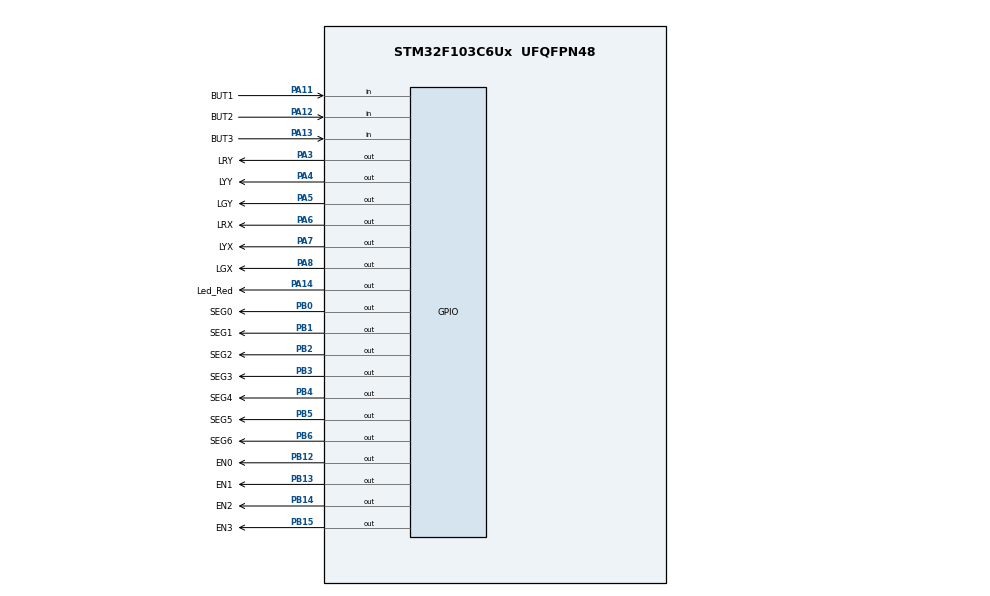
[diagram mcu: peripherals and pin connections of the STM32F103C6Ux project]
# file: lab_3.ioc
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Mcu.Family=STM32F1
Mcu.Name=STM32F103C6Ux
Mcu.Package=UFQFPN48
NVIC.PriorityGroup=NVIC_PRIORITYGROUP_4
NVIC.TIM2_IRQn=true\:0\:0\:false\:false\:true\:true\:true\:true
PA11.GPIO_Label=BUT1
PA11.GPIO_PuPd=GPIO_PULLUP
PA11.Signal=GPIO_Input
PA12.GPIO_Label=BUT2
PA12.GPIO_PuPd=GPIO_PULLUP
PA12.Signal=GPIO_Input
PA13.GPIO_Label=BUT3
PA13.GPIO_PuPd=GPIO_PULLUP
PA13.Signal=GPIO_Input
PA14.GPIO_Label=Led_Red
PA14.Signal=GPIO_Output
PA3.GPIO_Label=LRY
PA3.Signal=GPIO_Output
PA4.GPIO_Label=LYY
PA4.Signal=GPIO_Output
PA5.GPIO_Label=LGY
PA5.Signal=GPIO_Output
PA6.GPIO_Label=LRX
PA6.Signal=GPIO_Output
PA7.GPIO_Label=LYX
PA7.Signal=GPIO_Output
PA8.GPIO_Label=LGX
PA8.Signal=GPIO_Output
PB0.GPIO_Label=SEG0
PB0.Signal=GPIO_Output
PB1.GPIO_Label=SEG1
PB1.Signal=GPIO_Output
PB12.GPIO_Label=EN0
PB12.Signal=GPIO_Output
PB13.GPIO_Label=EN1
PB13.Signal=GPIO_Output
PB14.GPIO_Label=EN2
PB14.Signal=GPIO_Output
PB15.GPIO_Label=EN3
PB15.Signal=GPIO_Output
PB2.GPIO_Label=SEG2
PB2.Signal=GPIO_Output
PB3.GPIO_Label=SEG3
PB3.Signal=GPIO_Output
PB4.GPIO_Label=SEG4
PB4.Signal=GPIO_Output
PB5.GPIO_Label=SEG5
PB5.Signal=GPIO_Output
PB6.GPIO_Label=SEG6
PB6.Signal=GPIO_Output
ProjectManager.HeapSize=0x200
ProjectManager.StackSize=0x400
ProjectManager.TargetToolchain=STM32CubeIDE
RCC.APB1Freq_Value=8000000
RCC.APB2Freq_Value=8000000
TIM2.Period=9
TIM2.Prescaler=7999
VP_SYS_VS_ND.Mode=No_Debug
VP_TIM2_VS_ClockSourceINT.Mode=Internal
board=custom

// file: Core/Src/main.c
/* USER CODE BEGIN Header */
/**
  ******************************************************************************
  * @file           : main.c
  * @brief          : Main program body
  ******************************************************************************
  * @attention
  *
  * Copyright (c) 2024 STMicroelectronics.
  * All rights reserved.
  *
  * This software is licensed under terms that can be found in the LICENSE file
  * in the root directory of this software component.
  * If no LICENSE file comes with this software, it is provided AS-IS.
  *
  ******************************************************************************
  */
/* USER CODE END Header */
#include "main.h"

/* USER CODE BEGIN Includes */
#include "software_timer.h"
#include "button.h"
#include "fsm_automatic.h"
#include "global.h"
#include "fsm_manual.h"
#include "support_void.h"
#include "scheduler.h"
/* USER CODE END Includes */

TIM_HandleTypeDef htim2;

void SystemClock_Config(void);
static void MX_GPIO_Init(void);
static void MX_TIM2_Init(void);

void led1test() {
	HAL_GPIO_TogglePin(GPIOA, Led_Red_Pin);
}
int main(void)
{

  /* MCU Configuration--------------------------------------------------------*/

  /* Reset of all peripherals, Initializes the Flash interface and the Systick. */
  HAL_Init();

  /* Configure the system clock */
  SystemClock_Config();

  /* Initialize all configured peripherals */
  MX_GPIO_Init();
  MX_TIM2_Init();
  /* USER CODE BEGIN 2 */
  HAL_TIM_Base_Start_IT(&htim2);
  /* USER CODE END 2 */

  /* Infinite loop */
  /* USER CODE BEGIN WHILE */
  SCH_Init();
  SCH_Add_Task(timerRun, 1, 10);
  SCH_Add_Task(getKeyInput, 1, 10);
  SCH_Add_Task(fsm_automatic_run, 1, 10);
  SCH_Add_Task(fsm_manual_run, 1, 10);
  while (1)
  {
	  SCH_Dispatch_Tasks();

    /* USER CODE END WHILE */

  }
}

void SystemClock_Config(void)
{
  RCC_OscInitTypeDef RCC_OscInitStruct = {0};
  RCC_ClkInitTypeDef RCC_ClkInitStruct = {0};

  /** Initializes the RCC Oscillators according to the specified parameters
  * in the RCC_OscInitTypeDef structure.
  */
  RCC_OscInitStruct.OscillatorType = RCC_OSCILLATORTYPE_HSI;
  RCC_OscInitStruct.HSIState = RCC_HSI_ON;
  RCC_OscInitStruct.HSICalibrationValue = RCC_HSICALIBRATION_DEFAULT;
  RCC_OscInitStruct.PLL.PLLState = RCC_PLL_NONE;
  if (HAL_RCC_OscConfig(&RCC_OscInitStruct) != HAL_OK)
  {
    Error_Handler();
  }

  /** Initializes the CPU, AHB and APB buses clocks
  */
  RCC_ClkInitStruct.ClockType = RCC_CLOCKTYPE_HCLK|RCC_CLOCKTYPE_SYSCLK
                              |RCC_CLOCKTYPE_PCLK1|RCC_CLOCKTYPE_PCLK2;
  RCC_ClkInitStruct.SYSCLKSource = RCC_SYSCLKSOURCE_HSI;
  RCC_ClkInitStruct.AHBCLKDivider = RCC_SYSCLK_DIV1;
  RCC_ClkInitStruct.APB1CLKDivider = RCC_HCLK_DIV1;
  RCC_ClkInitStruct.APB2CLKDivider = RCC_HCLK_DIV1;

  if (HAL_RCC_ClockConfig(&RCC_ClkInitStruct, FLASH_LATENCY_0) != HAL_OK)
  {
    Error_Handler();
  }
}

static void MX_TIM2_Init(void)
{

  TIM_ClockConfigTypeDef sClockSourceConfig = {0};
  TIM_MasterConfigTypeDef sMasterConfig = {0};

  htim2.Instance = TIM2;
  htim2.Init.Prescaler = 7999;
  htim2.Init.CounterMode = TIM_COUNTERMODE_UP;
  htim2.Init.Period = 9;
  htim2.Init.ClockDivision = TIM_CLOCKDIVISION_DIV1;
  htim2.Init.AutoReloadPreload = TIM_AUTORELOAD_PRELOAD_DISABLE;
  if (HAL_TIM_Base_Init(&htim2) != HAL_OK)
  {
    Error_Handler();
  }
  sClockSourceConfig.ClockSource = TIM_CLOCKSOURCE_INTERNAL;
  if (HAL_TIM_ConfigClockSource(&htim2, &sClockSourceConfig) != HAL_OK)
  {
    Error_Handler();
  }
  sMasterConfig.MasterOutputTrigger = TIM_TRGO_RESET;
  sMasterConfig.MasterSlaveMode = TIM_MASTERSLAVEMODE_DISABLE;
  if (HAL_TIMEx_MasterConfigSynchronization(&htim2, &sMasterConfig) != HAL_OK)
  {
    Error_Handler();
  }

}

static void MX_GPIO_Init(void)
{
  GPIO_InitTypeDef GPIO_InitStruct = {0};

  /* GPIO Ports Clock Enable */
  __HAL_RCC_GPIOA_CLK_ENABLE();
  __HAL_RCC_GPIOB_CLK_ENABLE();

  /*Configure GPIO pin Output Level */
  HAL_GPIO_WritePin(GPIOA, LRY_Pin|LYY_Pin|LGY_Pin|LRX_Pin
                          |LYX_Pin|LGX_Pin|Led_Red_Pin, GPIO_PIN_RESET);

  /*Configure GPIO pin Output Level */
  HAL_GPIO_WritePin(GPIOB, SEG0_Pin|SEG1_Pin|SEG2_Pin|EN0_Pin
                          |EN1_Pin|EN2_Pin|EN3_Pin|SEG3_Pin
                          |SEG4_Pin|SEG5_Pin|SEG6_Pin, GPIO_PIN_RESET);

  /*Configure GPIO pins : LRY_Pin LYY_Pin LGY_Pin LRX_Pin
                           LYX_Pin LGX_Pin Led_Red_Pin */
  GPIO_InitStruct.Pin = LRY_Pin|LYY_Pin|LGY_Pin|LRX_Pin
                          |LYX_Pin|LGX_Pin|Led_Red_Pin;
  GPIO_InitStruct.Mode = GPIO_MODE_OUTPUT_PP;
  GPIO_InitStruct.Pull = GPIO_NOPULL;
  GPIO_InitStruct.Speed = GPIO_SPEED_FREQ_LOW;
  HAL_GPIO_Init(GPIOA, &GPIO_InitStruct);

  /*Configure GPIO pins : SEG0_Pin SEG1_Pin SEG2_Pin EN0_Pin
                           EN1_Pin EN2_Pin EN3_Pin SEG3_Pin
                           SEG4_Pin SEG5_Pin SEG6_Pin */
  GPIO_InitStruct.Pin = SEG0_Pin|SEG1_Pin|SEG2_Pin|EN0_Pin
                          |EN1_Pin|EN2_Pin|EN3_Pin|SEG3_Pin
                          |SEG4_Pin|SEG5_Pin|SEG6_Pin;
  GPIO_InitStruct.Mode = GPIO_MODE_OUTPUT_PP;
  GPIO_InitStruct.Pull = GPIO_NOPULL;
  GPIO_InitStruct.Speed = GPIO_SPEED_FREQ_LOW;
  HAL_GPIO_Init(GPIOB, &GPIO_InitStruct);

  /*Configure GPIO pins : BUT1_Pin BUT2_Pin BUT3_Pin */
  GPIO_InitStruct.Pin = BUT1_Pin|BUT2_Pin|BUT3_Pin;
  GPIO_InitStruct.Mode = GPIO_MODE_INPUT;
  GPIO_InitStruct.Pull = GPIO_PULLUP;
  HAL_GPIO_Init(GPIOA, &GPIO_InitStruct);

}

/* USER CODE BEGIN 4 */
void HAL_TIM_PeriodElapsedCallback(TIM_HandleTypeDef *htim){
	SCH_Update();
}
/* USER CODE END 4 */

void Error_Handler(void)
{
  __disable_irq();
  while (1)
  {
  }
}
